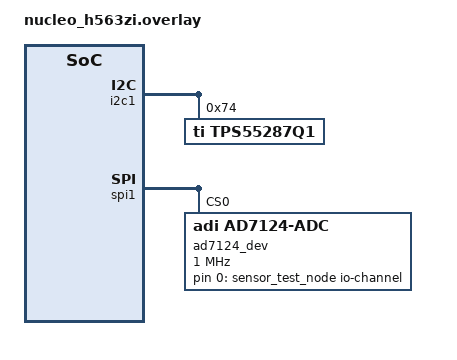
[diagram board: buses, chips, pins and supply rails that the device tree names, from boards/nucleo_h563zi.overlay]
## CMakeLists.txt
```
cmake_minimum_required(VERSION 3.20.0)

find_package(Zephyr REQUIRED HINTS $ENV{ZEPHYR_BASE})

project(pid_loop_demo LANGUAGES C)

target_sources(app PRIVATE src/main.c)
```

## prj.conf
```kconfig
# Logging
CONFIG_LOG=y
CONFIG_LOG_DEFAULT_LEVEL=3
CONFIG_REGULATOR_TPS55287Q1_LOG_LEVEL=4

# Enable floating-point printf support
CONFIG_CBPRINTF_FP_SUPPORT=y

# SPI support (for AD7124)
CONFIG_SPI=y

# I2C support (for TPS55287Q1)
CONFIG_I2C=y

# ADC support
CONFIG_ADC=y

# Regulator subsystem
CONFIG_REGULATOR=y
CONFIG_REGULATOR_TPS55287Q1=y

# Library modules
CONFIG_COO_CONFIG_LIB=y
CONFIG_COO_HEATERS_LIB=y
CONFIG_COO_SENSORS_LIB=y
CONFIG_COO_CONTROL_LIB=y
CONFIG_COO_COMMONS=y
```

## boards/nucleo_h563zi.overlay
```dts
/*
 * Devicetree overlay for NUCLEO-H563ZI:
 * - AD7124 ADC on SPI1 (temperature sensor)
 * - TPS55287Q1 Regulator on I2C1 (heater control)
 */

/ {
    aliases {
        sensor-test = &sensor_test_node;
        high-current-heater-test = &tps55287q1;
    };

    sensor_test_node: zephyr,user {
        io-channels = <&ad7124_dev 0>;
    };
};

&i2c1 {
    status = "okay";

    tps55287q1: tps55287q1@74 {
        compatible = "ti,tps55287q1";
        reg = <0x74>;
        status = "okay";

        intfb = <3>;
        force-discharge;
        r-sense-uohm = <20000>;

        /* Regulator common properties */
        regulator-name = "TPS55287Q1";
        regulator-active-discharge = <0>;
    };
};

&spi1 {
    status = "okay";

    ad7124_dev: ad7124@0 {
        compatible = "adi,ad7124-adc";
        status = "okay";
        reg = <0>;
        spi-max-frequency = <1000000>;
        active-device = <1>;

        #address-cells = <1>;
        #size-cells = <0>;

        #io-channel-cells = <1>;

        channel@0 {
            reg = <0>;
            zephyr,gain = "ADC_GAIN_4";
            zephyr,reference = "ADC_REF_EXTERNAL0";
            zephyr,acquisition-time = <ADC_ACQ_TIME_DEFAULT>;
            zephyr,resolution = <24>;
            zephyr,current-source-pin = [ 03 00 ];
            zephyr,input-positive = <2>;
            zephyr,input-negative = <3>;
        };
    };
};
```

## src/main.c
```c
/**
 * @file main.c
 * @brief PID Closed-Loop Control Demo
 *
 * Demonstrates closed-loop temperature control using:
 * - AD7124 ADC for temperature sensing (RTD)
 * - TPS55287Q1 regulator for heater control
 * - PID control algorithm from lib/control
 *
 * The demo:
 * 1. Initializes sensor, heater, and control loop subsystems
 * 2. Sets a target temperature (setpoint)
 * 3. Runs the PID control loop to maintain temperature
 * 4. Logs sensor readings, heater power, and PID state
 */

#include <zephyr/kernel.h>
#include <zephyr/logging/log.h>
#include <zephyr/drivers/adc.h>
#include <stdio.h>

#include <config.h>
#include <sensor_manager.h>
#include <heater_manager.h>
#include <control_loop.h>

LOG_MODULE_REGISTER(main, LOG_LEVEL_INF);

/* Control loop timing */
#define CONTROL_LOOP_PERIOD_MS  500
#define CONTROL_LOOP_DT_SECONDS (CONTROL_LOOP_PERIOD_MS / 1000.0f)

/* PID gains - tune these for your system */
#define PID_KP  5.0f   /* Proportional gain */
#define PID_KI  0.1f   /* Integral gain */
#define PID_KD  1.0f   /* Derivative gain */

/* Target temperature in Celsius */
#define TARGET_TEMP_C  30.0f

/* Power limits (0-100%) */
#define POWER_LIMIT_MIN  0.0f
#define POWER_LIMIT_MAX  50.0f  /* Limit to 50% for safety during testing */

/* Alarm thresholds in Celsius */
#define ALARM_MIN_TEMP_C  0.0f
#define ALARM_MAX_TEMP_C  80.0f

/* Conversion helper */
#define C_TO_K(c) ((c) + 273.15f)

/* ADC spec for sensor */
#if DT_NODE_HAS_STATUS(DT_ALIAS(sensor_test), okay)
static const struct adc_dt_spec sensor_adc_spec = ADC_DT_SPEC_GET(DT_ALIAS(sensor_test));
#endif

/* IDs used in this demo */
#define SENSOR_ID    "sensor-1"
#define HEATER_ID    "high-power-1"
#define LOOP_ID      "pid-loop-1"

int main(void)
{
    int ret;

    LOG_INF("===========================================");
    LOG_INF("PID Closed-Loop Control Demo Starting");
    LOG_INF("===========================================");

    /* Load default configuration */
    thermal_config_t *config = config_load_defaults();
    if (!config) {
        LOG_ERR("Failed to load configuration");
        return -1;
    }

    /*
     * Configure Sensor
     * Use defaults (sensor-1 is already configured as P_RTD with correct params)
     * Just assign the ADC driver
     */
#if DT_NODE_HAS_STATUS(DT_ALIAS(sensor_test), okay)
    sensor_config_t *sensor = config_find_sensor(config, SENSOR_ID);
    if (sensor) {
        sensor->driver_data = &sensor_adc_spec;
    } else {
        LOG_ERR("Sensor %s not found in config", SENSOR_ID);
        return -1;
    }
#endif

    /*
     * Configure Heater
     */
    config->number_of_heaters = 1;
    strncpy(config->heaters[0].id, HEATER_ID, MAX_ID_LENGTH - 1);
    config->heaters[0].type = HEATER_TYPE_HIGH_POWER;
    config->heaters[0].max_power_w = 40.0f;
    config->heaters[0].resistance_ohms = 30.0f;
    config->heaters[0].regulator_dev = DEVICE_DT_GET(DT_ALIAS(high_current_heater_test));
    config->heaters[0].enabled = true;

    /*
     * Configure Control Loop
     */
    config->number_of_control_loops = 1;
    strncpy(config->control_loops[0].id, LOOP_ID, MAX_ID_LENGTH - 1);

    /* Assign sensor to loop */
    config->control_loops[0].num_sensors = 1;
    strncpy(config->control_loops[0].sensor_ids[0], SENSOR_ID, MAX_ID_LENGTH - 1);

    /* Assign heater to loop */
    config->control_loops[0].num_heaters = 1;
    strncpy(config->control_loops[0].heater_ids[0], HEATER_ID, MAX_ID_LENGTH - 1);

    /* PID parameters */
    config->control_loops[0].control_algorithm = CONTROL_ALGO_PID;
    config->control_loops[0].p_gain = PID_KP;
    config->control_loops[0].i_gain = PID_KI;
    config->control_loops[0].d_gain = PID_KD;

    /* Setpoint and state */
    config->control_loops[0].default_target_temperature = C_TO_K(TARGET_TEMP_C);
    config->control_loops[0].default_state_on = true;
    config->control_loops[0].enabled = true;

    /* Power limits */
    config->control_loops[0].heater_power_limit_min = POWER_LIMIT_MIN;
    config->control_loops[0].heater_power_limit_max = POWER_LIMIT_MAX;

    /* Alarm thresholds */
    config->control_loops[0].alarm_min_temp = C_TO_K(ALARM_MIN_TEMP_C);
    config->control_loops[0].alarm_max_temp = C_TO_K(ALARM_MAX_TEMP_C);

    /* No loop following */
    config->control_loops[0].follows_loop_id[0] = '\0';
    config->control_loops[0].follows_loop_scalar = 1.0f;

    /* Error handling */
    config->control_loops[0].error_condition = ERROR_CONDITION_ALARM;

    /*
     * Initialize Subsystems
     */
    LOG_INF("Initializing heater manager...");
    ret = heater_manager_init(config);
    if (ret < 0) {
        LOG_ERR("Failed to initialize heater manager: %d", ret);
        return -1;
    }

    /* Start with heater off */
    heater_manager_set_power(HEATER_ID, 0.0f);

    LOG_INF("Initializing sensor manager...");
    ret = sensor_manager_init(config);
    if (ret != 0) {
        LOG_ERR("Failed to initialize sensor manager: %d", ret);
        return -1;
    }

    LOG_INF("Initializing control loop...");
    ret = control_loop_init(config);
    if (ret != 0) {
        LOG_ERR("Failed to initialize control loop: %d", ret);
        return -1;
    }

    LOG_INF("-------------------------------------------");
    LOG_INF("Configuration:");
    LOG_INF("  Target Temperature: %.2f C",
            (double)TARGET_TEMP_C);
    LOG_INF("  PID Gains: Kp=%.2f, Ki=%.2f, Kd=%.2f",
            (double)PID_KP, (double)PID_KI, (double)PID_KD);
    LOG_INF("  Power Limits: %.1f%% - %.1f%%",
            (double)POWER_LIMIT_MIN, (double)POWER_LIMIT_MAX);
    LOG_INF("  Loop Period: %d ms", CONTROL_LOOP_PERIOD_MS);
    LOG_INF("-------------------------------------------");

    /*
     * Main Control Loop
     */
    LOG_INF("Starting PID control loop...");
    LOG_INF("Press reset to stop.");
    LOG_INF("");

    int iteration = 0;

    while (1) {
        /* Read all sensors */
        ret = sensor_manager_read_all();
        if (ret < 0) {
            LOG_WRN("Sensor read errors: %d", -ret);
        }

        /* Run PID control loop update */
        ret = control_loop_update_all(CONTROL_LOOP_DT_SECONDS);
        if (ret < 0) {
            LOG_WRN("Control loop errors: %d", -ret);
        }

        /* Log status every 2 seconds (4 iterations at 500ms) */
        if (iteration % 4 == 0) {
            sensor_reading_t reading;
            float heater_power = 0.0f;
            float target = 0.0f;

            sensor_manager_get_reading(SENSOR_ID, &reading);
            heater_manager_get_power(HEATER_ID, &heater_power);
            control_loop_get_target(LOOP_ID, &target);

            float error = target - reading.temperature_kelvin;

            printf("[%6d] T=%.2f K (%.2f C) | SP=%.2f K | Err=%.2f | Pwr=%.1f%%\n",
                   iteration,
                   (double)reading.temperature_kelvin,
                   (double)(reading.temperature_kelvin - 273.15f),
                   (double)target,
                   (double)error,
                   (double)heater_power);
        }

        iteration++;
        k_msleep(CONTROL_LOOP_PERIOD_MS);
    }

    return 0;
}
```
